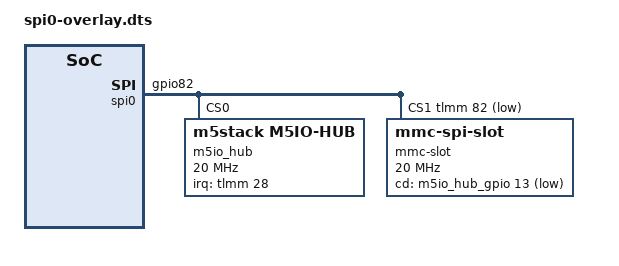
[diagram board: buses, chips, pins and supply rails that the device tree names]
/dts-v1/;
/plugin/;

#include <dt-bindings/gpio/gpio.h>
#include <dt-bindings/interrupt-controller/irq.h>

/ {
    fragment@0 {
        target = <&tlmm>;

        __overlay__ {
            qup_spi0_cs1_default_state: qup-spi0-cs1-default-state {
                pins = "gpio82";
                function = "gpio";
                drive-strength = <2>;
                bias-pull-up;
                output-high;
            };

            m5io_hub_irq_default_state: m5io-hub-irq-default-state {
                pins = "gpio28";
                function = "gpio";
                drive-strength = <2>;
                bias-pull-up;
                input-enable;
                output-disable;
            };
        };
    };

    fragment@1 {
        target = <&spi0>;

        __overlay__ {
            pinctrl-names = "default";
            pinctrl-0 = <&qup_spi0_default_state>,
                        <&qup_spi0_cs1_default_state>;
            num-cs = <2>;
            cs-gpios = <0>, <&tlmm 82 GPIO_ACTIVE_LOW>;
            #address-cells = <1>;
            #size-cells = <0>;
            status = "okay";

            m5io_hub: m5io-hub@0 {
                compatible = "m5stack,m5io-hub";
                reg = <0>;
                spi-max-frequency = <20000000>;

                pinctrl-names = "default";
                pinctrl-0 = <&m5io_hub_irq_default_state>;
                interrupt-parent = <&tlmm>;
                interrupts = <28 IRQ_TYPE_LEVEL_LOW>;
                status = "okay";

                m5io_hub_gpio: gpio {
                    compatible = "m5stack,m5io-hub-gpio";
                    gpio-controller;
                    #gpio-cells = <2>;
                    interrupt-controller;
                    #interrupt-cells = <2>;
                    status = "okay";
                };

                m5io_hub_leds: leds {
                    compatible = "m5hub-gpio-leds";

                    grove-fun {
                        label = "grove_fun";
                        gpios = <&m5io_hub_gpio 1 GPIO_ACTIVE_HIGH>;
                        default-state = "off";
                    };
                };

                /* Enable these nodes when their transport drivers are ready. */
                m5io_hub_uart: serial {
                    compatible = "m5stack,m5io-hub-uart";
                    status = "disabled";
                };

                m5io_hub_i2c: i2c {
                    compatible = "m5stack,m5io-hub-i2c";
                    #address-cells = <1>;
                    #size-cells = <0>;
                    status = "disabled";
                };

                m5io_hub_spi: spi {
                    compatible = "m5stack,m5io-hub-spi";
                    #address-cells = <1>;
                    #size-cells = <0>;
                    status = "disabled";
                };
            };

            mmc-slot@1 {
                compatible = "mmc-spi-slot";
                reg = <1>;
                spi-max-frequency = <20000000>;
                voltage-ranges = <3300 3300>;
                bus-width = <1>;
                disable-wp;
                cd-gpios = <&m5io_hub_gpio 13 GPIO_ACTIVE_LOW>;
                status = "okay";
            };
        };
    };

};
